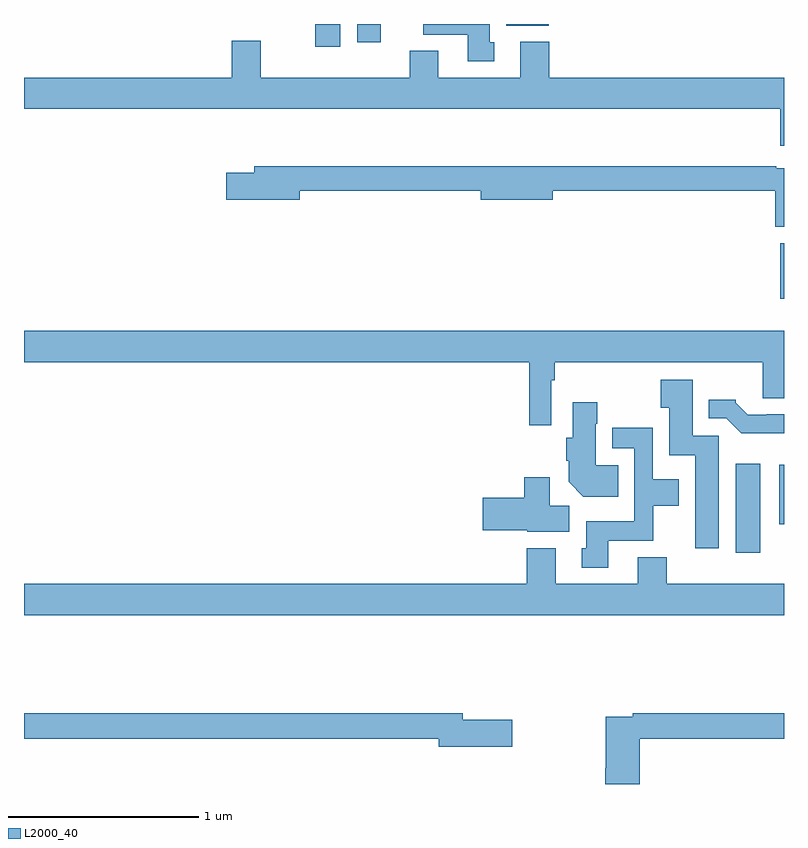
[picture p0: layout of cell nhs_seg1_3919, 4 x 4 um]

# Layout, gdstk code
import gdstk
lib = gdstk.Library(unit=1e-6, precision=1e-09)
def R(c, l, rs):  # rectangles x0, y0, x1, y1
    for r in rs: c.add(gdstk.rectangle(r[:2], r[2:], *l))
def P(c, l, *ps):  # polygons
    for p in ps: c.add(gdstk.Polygon(p, *l))
L2000_40 = (2000, 40)

nhs_seg1_3919 = lib.new_cell('nhs_seg1_3919')
R(nhs_seg1_3919, L2000_40, [(328.745,529.416,328.876,529.885), (328.976,529.565,329,529.879), (328.979,530.754,329,531.046), (326.534,532.08,326.665,532.199), (326.753,532.104,326.878,532.199), (327.539,532.19,327.762,532.199)])
P(nhs_seg1_3919, L2000_40, [(327.475,532.104),(327.451,532.104),(327.451,532.199),(327.1,532.199),(327.1,532.142),(327.335,532.142),(327.335,532.002),(327.475,532.002)],
  [(329,531.916),(327.764,531.916),(327.764,532.105),(327.611,532.105),(327.611,531.916),(327.181,531.916),(327.181,532.057),(327.029,532.057),(327.029,531.916),(326.245,531.916),(326.245,532.111),(326.093,532.111),(326.093,531.916),(325,531.916),(325,531.752),(328.979,531.752),(328.979,531.558),(329,531.558)],
  [(329,531.439),(328.959,531.439),(328.959,531.451),(326.213,531.451),(326.213,531.417),(326.064,531.417),(326.064,531.275),(326.452,531.275),(326.452,531.322),(327.404,531.322),(327.404,531.275),(327.784,531.275),(327.784,531.322),(328.955,531.322),(328.955,531.131),(329,531.131)],
  [(327.774,530.324),(327.794,530.324),(327.794,530.42),(328.889,530.42),(328.889,530.23),(329,530.23),(329,530.584),(325,530.584),(325,530.42),(327.658,530.42),(327.658,530.088),(327.774,530.088)],
  [(328.657,530.031),(328.519,530.031),(328.519,530.326),(328.351,530.326),(328.351,530.179),(328.397,530.179),(328.397,529.928),(328.532,529.928),(328.532,529.44),(328.657,529.44)],
  [(329,530.145),(328.909,530.145),(328.909,530.142),(328.81,530.142),(328.746,530.206),(328.746,530.221),(328.604,530.221),(328.604,530.124),(328.695,530.124),(328.774,530.046),(329,530.046)],
  [(328.127,529.876),(328.009,529.876),(328.009,530.096),(328.017,530.096),(328.017,530.209),(327.887,530.209),(327.887,530.022),(327.854,530.022),(327.854,529.9),(327.866,529.9),(327.866,529.79),(327.944,529.712),(328.127,529.712)],
  [(328.075,529.478),(328.311,529.478),(328.311,529.664),(328.447,529.664),(328.447,529.804),(328.308,529.804),(328.308,530.074),(328.095,530.074),(328.095,529.965),(328.212,529.965),(328.212,529.582),(327.959,529.582),(327.959,529.44),(327.935,529.44),(327.935,529.338),(328.075,529.338)],
  [(327.871,529.664),(327.766,529.664),(327.766,529.813),(327.632,529.813),(327.632,529.706),(327.414,529.706),(327.414,529.535),(327.648,529.535),(327.648,529.526),(327.871,529.526)],
  [(329,529.252),(328.382,529.252),(328.382,529.393),(328.229,529.393),(328.229,529.252),(327.799,529.252),(327.799,529.441),(327.647,529.441),(327.647,529.252),(325,529.252),(325,529.088),(329,529.088)],
  [(327.571,528.536),(327.31,528.536),(327.31,528.572),(325,528.572),(325,528.436),(327.182,528.436),(327.182,528.394),(327.571,528.394)],
  [(328.241,528.436),(329,528.436),(329,528.572),(328.204,528.572),(328.204,528.552),(328.063,528.552),(328.063,528.283),(328.058,528.283),(328.058,528.199),(328.241,528.199)])

lib.write_gds('nhs_seg1_3919.gds')
